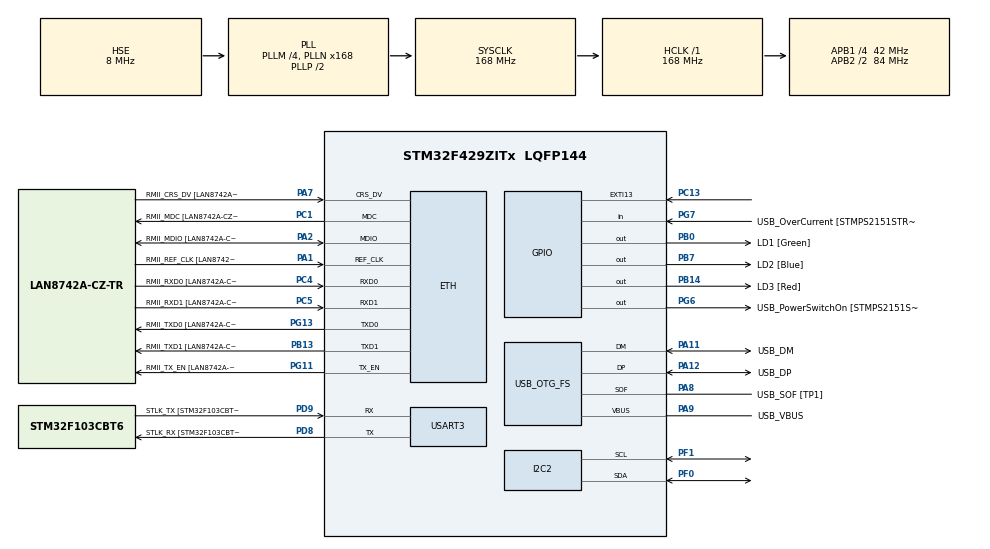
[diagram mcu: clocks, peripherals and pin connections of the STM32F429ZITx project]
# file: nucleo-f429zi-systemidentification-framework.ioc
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ETH.MediaInterface=HAL_ETH_RMII_MODE
ETH.PHY_Name=LAN8742A_PHY_ADDRESS
ETH.PHY_Value=0
ETH.PhyAddress=0
Mcu.Family=STM32F4
Mcu.Name=STM32F429ZITx
Mcu.Package=LQFP144
NVIC.EXTI15_10_IRQn=true\:0\:0\:false\:false\:true\:true\:true\:true
NVIC.PriorityGroup=NVIC_PRIORITYGROUP_4
PA1.GPIO_Label=RMII_REF_CLK [LAN8742A-CZ-TR_REFCLK0]
PA1.Mode=RMII
PA1.Signal=ETH_REF_CLK
PA10.GPIO_Label=USB_ID
PA10.Signal=USB_OTG_FS_ID
PA11.GPIO_Label=USB_DM
PA11.Mode=Device_Only
PA11.Signal=USB_OTG_FS_DM
PA12.GPIO_Label=USB_DP
PA12.Mode=Device_Only
PA12.Signal=USB_OTG_FS_DP
PA13.GPIO_Label=TMS
PA13.Mode=Serial_Wire
PA13.Signal=SYS_JTMS-SWDIO
PA14.GPIO_Label=TCK
PA14.Mode=Serial_Wire
PA14.Signal=SYS_JTCK-SWCLK
PA2.GPIO_Label=RMII_MDIO [LAN8742A-CZ-TR_MDIO]
PA2.Mode=RMII
PA2.Signal=ETH_MDIO
PA7.GPIO_Label=RMII_CRS_DV [LAN8742A-CZ-TR_CRS_DV]
PA7.Mode=RMII
PA7.Signal=ETH_CRS_DV
PA8.GPIO_Label=USB_SOF [TP1]
PA8.Mode=Activate_SOF_FS
PA8.Signal=USB_OTG_FS_SOF
PA9.GPIO_Label=USB_VBUS
PA9.Mode=Activate_VBUS
PA9.Signal=USB_OTG_FS_VBUS
PB0.GPIO_Label=LD1 [Green]
PB0.Signal=GPIO_Output
PB13.GPIO_Label=RMII_TXD1 [LAN8742A-CZ-TR_TXD1]
PB13.Mode=RMII
PB13.Signal=ETH_TXD1
PB14.GPIO_Label=LD3 [Red]
PB14.Signal=GPIO_Output
PB7.GPIO_Label=LD2 [Blue]
PB7.Signal=GPIO_Output
PC1.GPIO_Label=RMII_MDC [LAN8742A-CZ-TR_MDC]
PC1.Mode=RMII
PC1.Signal=ETH_MDC
PC13.Signal=GPXTI13
PC14/OSC32_IN.Mode=LSE-External-Oscillator
PC14/OSC32_IN.Signal=RCC_OSC32_IN
PC15/OSC32_OUT.Mode=LSE-External-Oscillator
PC15/OSC32_OUT.Signal=RCC_OSC32_OUT
PC4.GPIO_Label=RMII_RXD0 [LAN8742A-CZ-TR_RXD0]
PC4.Mode=RMII
PC4.Signal=ETH_RXD0
PC5.GPIO_Label=RMII_RXD1 [LAN8742A-CZ-TR_RXD1]
PC5.Mode=RMII
PC5.Signal=ETH_RXD1
PD8.GPIO_Label=STLK_RX [STM32F103CBT6_PA3]
PD8.Mode=Asynchronous
PD8.Signal=USART3_TX
PD9.GPIO_Label=STLK_TX [STM32F103CBT6_PA2]
PD9.Mode=Asynchronous
PD9.Signal=USART3_RX
PF0.Mode=I2C
PF0.Signal=I2C2_SDA
PF1.Mode=I2C
PF1.Signal=I2C2_SCL
PG11.GPIO_Label=RMII_TX_EN [LAN8742A-CZ-TR_TXEN]
PG11.Mode=RMII
PG11.Signal=ETH_TX_EN
PG13.GPIO_Label=RMII_TXD0 [LAN8742A-CZ-TR_TXD0]
PG13.Mode=RMII
PG13.Signal=ETH_TXD0
PG6.GPIO_Label=USB_PowerSwitchOn [STMPS2151STR_EN]
PG6.Signal=GPIO_Output
PG7.GPIO_Label=USB_OverCurrent [STMPS2151STR_FAULT]
PG7.Signal=GPIO_Input
PH0/OSC_IN.GPIO_Label=MCO [STM32F103CBT6_PA8]
PH0/OSC_IN.Mode=HSE-External-Clock-Source
PH0/OSC_IN.Signal=RCC_OSC_IN
PH1/OSC_OUT.Mode=HSE-External-Clock-Source
PH1/OSC_OUT.Signal=RCC_OSC_OUT
ProjectManager.HeapSize=0x200
ProjectManager.StackSize=0x400
ProjectManager.TargetToolchain=STM32CubeIDE
RCC.48MHZClocksFreq_Value=48000000
RCC.AHBFreq_Value=168000000
RCC.APB1CLKDivider=RCC_HCLK_DIV4
RCC.APB1Freq_Value=42000000
RCC.APB1TimFreq_Value=84000000
RCC.APB2CLKDivider=RCC_HCLK_DIV2
RCC.APB2Freq_Value=84000000
RCC.APB2TimCLKDivider=2
RCC.APB2TimFreq_Value=168000000
RCC.CortexFreq_Value=168000000
RCC.HCLKFreq_Value=168000000
RCC.HSE_VALUE=8000000
RCC.HSI_VALUE=16000000
RCC.PLLM=4
RCC.PLLMUL=RCC_PLL_MUL9
RCC.PLLN=168
RCC.PLLQ=7
RCC.PRESCALERUSB=RCC_USBCLKSOURCE_PLL_DIV1_5
RCC.SYSCLKFreq_VALUE=168000000
RCC.SYSCLKSource=RCC_SYSCLKSOURCE_PLLCLK
RCC.SYSCLKSourceVirtual=RCC_SYSCLKSOURCE_PLLCLK
RCC.USBFreq_Value=48000000
RCC.VCOOutputFreq_Value=336000000
USART3.VirtualMode=VM_ASYNC
USB_OTG_FS.VirtualMode=Device_Only
board=NUCLEO-F429ZI

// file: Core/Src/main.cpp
/* USER CODE BEGIN Header */
/**
  ******************************************************************************
  * @file           : main.c
  * @brief          : Main program body
  ******************************************************************************
  * @attention
  *
  * Copyright (c) 2025 STMicroelectronics.
  * All rights reserved.
  *
  * This software is licensed under terms that can be found in the LICENSE file
  * in the root directory of this software component.
  * If no LICENSE file comes with this software, it is provided AS-IS.
  *
  ******************************************************************************
  */
/* USER CODE END Header */
#include "main.h"
#include "string.h"

/* USER CODE BEGIN Includes */
#include <queue>
#include <iostream>
#include"SystemStateHandler.h"
#include"SystemState.h"
#include"BlueButtonEvent.h"
#include "StartEvent.h"
/* USER CODE END Includes */

ETH_TxPacketConfig TxConfig;
ETH_DMADescTypeDef  DMARxDscrTab[ETH_RX_DESC_CNT]; /* Ethernet Rx DMA Descriptors */
ETH_DMADescTypeDef  DMATxDscrTab[ETH_TX_DESC_CNT]; /* Ethernet Tx DMA Descriptors */

ETH_HandleTypeDef heth;

I2C_HandleTypeDef hi2c2;

UART_HandleTypeDef huart3;

PCD_HandleTypeDef hpcd_USB_OTG_FS;

/* USER CODE BEGIN PV */
std::queue<Event*> event_queue;
SystemStateHandler stateHandler;
/* USER CODE END PV */

void SystemClock_Config(void);
static void MX_GPIO_Init(void);
static void MX_ETH_Init(void);
static void MX_USART3_UART_Init(void);
static void MX_USB_OTG_FS_PCD_Init(void);
static void MX_I2C2_Init(void);

int main(void)
{

  /* MCU Configuration--------------------------------------------------------*/

  /* Reset of all peripherals, Initializes the Flash interface and the Systick. */
  HAL_Init();

  /* Configure the system clock */
  SystemClock_Config();

  /* Initialize all configured peripherals */
  MX_GPIO_Init();
  MX_ETH_Init();
  MX_USART3_UART_Init();
  MX_USB_OTG_FS_PCD_Init();
  MX_I2C2_Init();

  /* Infinite loop */
  /* USER CODE BEGIN WHILE */
  while (1)
  {

	  //event queue
	  if(!event_queue.empty()) {
		  Event* currentEvent = event_queue.front();
		  event_queue.pop();
		  currentEvent->vHandleEvent();
		  delete currentEvent;
	  }

    /* USER CODE END WHILE */

	  //event queue
	  if(!event_queue.empty()) {
		  Event* currentEvent = event_queue.front();
		  event_queue.pop();
		  currentEvent->vHandleEvent();
		  delete currentEvent;
	  }

  }
}

void SystemClock_Config(void)
{
  RCC_OscInitTypeDef RCC_OscInitStruct = {0};
  RCC_ClkInitTypeDef RCC_ClkInitStruct = {0};

  /** Configure the main internal regulator output voltage
  */
  __HAL_RCC_PWR_CLK_ENABLE();
  __HAL_PWR_VOLTAGESCALING_CONFIG(PWR_REGULATOR_VOLTAGE_SCALE1);

  /** Initializes the RCC Oscillators according to the specified parameters
  * in the RCC_OscInitTypeDef structure.
  */
  RCC_OscInitStruct.OscillatorType = RCC_OSCILLATORTYPE_HSE;
  RCC_OscInitStruct.HSEState = RCC_HSE_BYPASS;
  RCC_OscInitStruct.PLL.PLLState = RCC_PLL_ON;
  RCC_OscInitStruct.PLL.PLLSource = RCC_PLLSOURCE_HSE;
  RCC_OscInitStruct.PLL.PLLM = 4;
  RCC_OscInitStruct.PLL.PLLN = 168;
  RCC_OscInitStruct.PLL.PLLP = RCC_PLLP_DIV2;
  RCC_OscInitStruct.PLL.PLLQ = 7;
  if (HAL_RCC_OscConfig(&RCC_OscInitStruct) != HAL_OK)
  {
    Error_Handler();
  }

  /** Initializes the CPU, AHB and APB buses clocks
  */
  RCC_ClkInitStruct.ClockType = RCC_CLOCKTYPE_HCLK|RCC_CLOCKTYPE_SYSCLK
                              |RCC_CLOCKTYPE_PCLK1|RCC_CLOCKTYPE_PCLK2;
  RCC_ClkInitStruct.SYSCLKSource = RCC_SYSCLKSOURCE_PLLCLK;
  RCC_ClkInitStruct.AHBCLKDivider = RCC_SYSCLK_DIV1;
  RCC_ClkInitStruct.APB1CLKDivider = RCC_HCLK_DIV4;
  RCC_ClkInitStruct.APB2CLKDivider = RCC_HCLK_DIV2;

  if (HAL_RCC_ClockConfig(&RCC_ClkInitStruct, FLASH_LATENCY_5) != HAL_OK)
  {
    Error_Handler();
  }
}

static void MX_ETH_Init(void)
{

   static uint8_t MACAddr[6];

  heth.Instance = ETH;
  MACAddr[0] = 0x00;
  MACAddr[1] = 0x80;
  MACAddr[2] = 0xE1;
  MACAddr[3] = 0x00;
  MACAddr[4] = 0x00;
  MACAddr[5] = 0x00;
  heth.Init.MACAddr = &MACAddr[0];
  heth.Init.MediaInterface = HAL_ETH_RMII_MODE;
  heth.Init.TxDesc = DMATxDscrTab;
  heth.Init.RxDesc = DMARxDscrTab;
  heth.Init.RxBuffLen = 1524;

  if (HAL_ETH_Init(&heth) != HAL_OK)
  {
    Error_Handler();
  }

  memset(&TxConfig, 0 , sizeof(ETH_TxPacketConfig));
  TxConfig.Attributes = ETH_TX_PACKETS_FEATURES_CSUM | ETH_TX_PACKETS_FEATURES_CRCPAD;
  TxConfig.ChecksumCtrl = ETH_CHECKSUM_IPHDR_PAYLOAD_INSERT_PHDR_CALC;
  TxConfig.CRCPadCtrl = ETH_CRC_PAD_INSERT;

}

static void MX_I2C2_Init(void)
{

  hi2c2.Instance = I2C2;
  hi2c2.Init.ClockSpeed = 100000;
  hi2c2.Init.DutyCycle = I2C_DUTYCYCLE_2;
  hi2c2.Init.OwnAddress1 = 0;
  hi2c2.Init.AddressingMode = I2C_ADDRESSINGMODE_7BIT;
  hi2c2.Init.DualAddressMode = I2C_DUALADDRESS_DISABLE;
  hi2c2.Init.OwnAddress2 = 0;
  hi2c2.Init.GeneralCallMode = I2C_GENERALCALL_DISABLE;
  hi2c2.Init.NoStretchMode = I2C_NOSTRETCH_DISABLE;
  if (HAL_I2C_Init(&hi2c2) != HAL_OK)
  {
    Error_Handler();
  }

  /** Configure Analogue filter
  */
  if (HAL_I2CEx_ConfigAnalogFilter(&hi2c2, I2C_ANALOGFILTER_ENABLE) != HAL_OK)
  {
    Error_Handler();
  }

  /** Configure Digital filter
  */
  if (HAL_I2CEx_ConfigDigitalFilter(&hi2c2, 0) != HAL_OK)
  {
    Error_Handler();
  }

}

static void MX_USART3_UART_Init(void)
{

  huart3.Instance = USART3;
  huart3.Init.BaudRate = 115200;
  huart3.Init.WordLength = UART_WORDLENGTH_8B;
  huart3.Init.StopBits = UART_STOPBITS_1;
  huart3.Init.Parity = UART_PARITY_NONE;
  huart3.Init.Mode = UART_MODE_TX_RX;
  huart3.Init.HwFlowCtl = UART_HWCONTROL_NONE;
  huart3.Init.OverSampling = UART_OVERSAMPLING_16;
  if (HAL_UART_Init(&huart3) != HAL_OK)
  {
    Error_Handler();
  }

}

static void MX_USB_OTG_FS_PCD_Init(void)
{

  hpcd_USB_OTG_FS.Instance = USB_OTG_FS;
  hpcd_USB_OTG_FS.Init.dev_endpoints = 4;
  hpcd_USB_OTG_FS.Init.speed = PCD_SPEED_FULL;
  hpcd_USB_OTG_FS.Init.dma_enable = DISABLE;
  hpcd_USB_OTG_FS.Init.phy_itface = PCD_PHY_EMBEDDED;
  hpcd_USB_OTG_FS.Init.Sof_enable = ENABLE;
  hpcd_USB_OTG_FS.Init.low_power_enable = DISABLE;
  hpcd_USB_OTG_FS.Init.lpm_enable = DISABLE;
  hpcd_USB_OTG_FS.Init.vbus_sensing_enable = ENABLE;
  hpcd_USB_OTG_FS.Init.use_dedicated_ep1 = DISABLE;
  if (HAL_PCD_Init(&hpcd_USB_OTG_FS) != HAL_OK)
  {
    Error_Handler();
  }

}

static void MX_GPIO_Init(void)
{
  GPIO_InitTypeDef GPIO_InitStruct = {0};

  /* GPIO Ports Clock Enable */
  __HAL_RCC_GPIOC_CLK_ENABLE();
  __HAL_RCC_GPIOF_CLK_ENABLE();
  __HAL_RCC_GPIOH_CLK_ENABLE();
  __HAL_RCC_GPIOA_CLK_ENABLE();
  __HAL_RCC_GPIOB_CLK_ENABLE();
  __HAL_RCC_GPIOD_CLK_ENABLE();
  __HAL_RCC_GPIOG_CLK_ENABLE();

  /*Configure GPIO pin Output Level */
  HAL_GPIO_WritePin(GPIOB, LD1_Pin|LD3_Pin|LD2_Pin, GPIO_PIN_RESET);

  /*Configure GPIO pin Output Level */
  HAL_GPIO_WritePin(USB_PowerSwitchOn_GPIO_Port, USB_PowerSwitchOn_Pin, GPIO_PIN_RESET);

  /*Configure GPIO pin : PC13 */
  GPIO_InitStruct.Pin = GPIO_PIN_13;
  GPIO_InitStruct.Mode = GPIO_MODE_IT_RISING;
  GPIO_InitStruct.Pull = GPIO_NOPULL;
  HAL_GPIO_Init(GPIOC, &GPIO_InitStruct);

  /*Configure GPIO pins : LD1_Pin LD3_Pin LD2_Pin */
  GPIO_InitStruct.Pin = LD1_Pin|LD3_Pin|LD2_Pin;
  GPIO_InitStruct.Mode = GPIO_MODE_OUTPUT_PP;
  GPIO_InitStruct.Pull = GPIO_NOPULL;
  GPIO_InitStruct.Speed = GPIO_SPEED_FREQ_LOW;
  HAL_GPIO_Init(GPIOB, &GPIO_InitStruct);

  /*Configure GPIO pin : USB_PowerSwitchOn_Pin */
  GPIO_InitStruct.Pin = USB_PowerSwitchOn_Pin;
  GPIO_InitStruct.Mode = GPIO_MODE_OUTPUT_PP;
  GPIO_InitStruct.Pull = GPIO_NOPULL;
  GPIO_InitStruct.Speed = GPIO_SPEED_FREQ_LOW;
  HAL_GPIO_Init(USB_PowerSwitchOn_GPIO_Port, &GPIO_InitStruct);

  /*Configure GPIO pin : USB_OverCurrent_Pin */
  GPIO_InitStruct.Pin = USB_OverCurrent_Pin;
  GPIO_InitStruct.Mode = GPIO_MODE_INPUT;
  GPIO_InitStruct.Pull = GPIO_NOPULL;
  HAL_GPIO_Init(USB_OverCurrent_GPIO_Port, &GPIO_InitStruct);

  /* EXTI interrupt init*/
  HAL_NVIC_SetPriority(EXTI15_10_IRQn, 0, 0);
  HAL_NVIC_EnableIRQ(EXTI15_10_IRQn);

}

/* USER CODE BEGIN 4 */
void HAL_GPIO_EXTI_Callback(uint16_t GPIO_Pin){

	if(GPIO_Pin == GPIO_PIN_13)
	{
		event_queue.push(new BlueButtonEvent);
	}
}
/* USER CODE END 4 */

void Error_Handler(void)
{
  __disable_irq();
  while (1)
  {
  }
}
